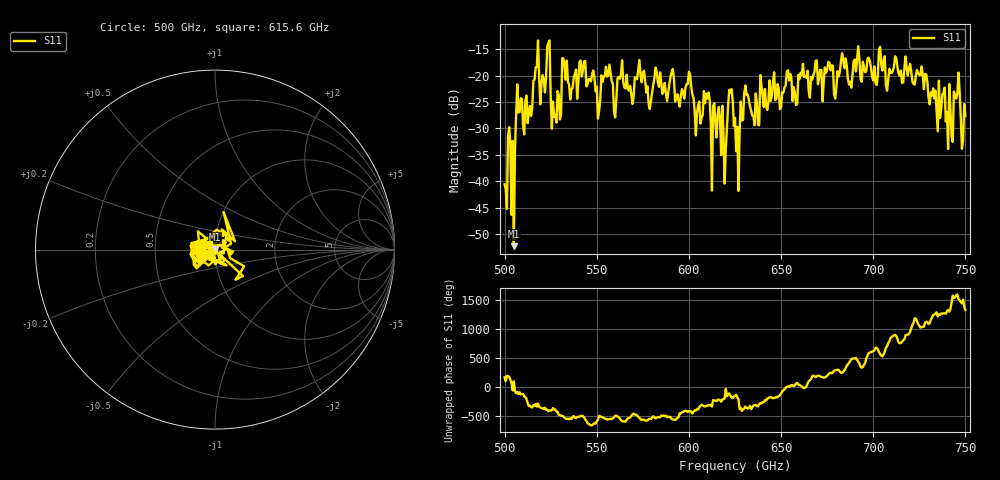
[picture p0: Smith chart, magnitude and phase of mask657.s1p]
!Created with skrf (http://scikit-rf.org).
# GHz S MA R 50.0
!freq magS11 angS11
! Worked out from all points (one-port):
!   401 points, 500 GHz to 750 GHz, reference 50 ohm
!   lowest |S11| = -52.3 dB at 505 GHz (marker M1), VSWR 1.00, Z = 50 + j0.241 ohm
!   |S11| at or under -10 dB: start of sweep to end of sweep
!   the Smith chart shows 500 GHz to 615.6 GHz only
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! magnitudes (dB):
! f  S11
! 500 GHz  -40.6
! 503.1 GHz  -32.9
! 505 GHz  -52.3
! 507.5 GHz  -27.0
! 513.8 GHz  -25.7
! 516.9 GHz  -18.5
! 520.6 GHz  -19.9
! 523.8 GHz  -13.8
! 526.9 GHz  -27.8
! 531.2 GHz  -16.7
! 542.5 GHz  -18.9
! 550.6 GHz  -28.2
! 562.5 GHz  -20.6
! 590.6 GHz  -19.3
! 593.8 GHz  -23.5
! 609.4 GHz  -23.4
! 618.8 GHz  -31.0
! 622.5 GHz  -23.3
! 625 GHz  -28.0
! 626.2 GHz  -29.7
! 631.2 GHz  -23.7
! 636.9 GHz  -25.1
! 656.2 GHz  -24.8
! 680 GHz  -22.3
! 683.8 GHz  -17.2
! 687.5 GHz  -21.2
! 718.8 GHz  -20.0
! 750 GHz  -27.7
